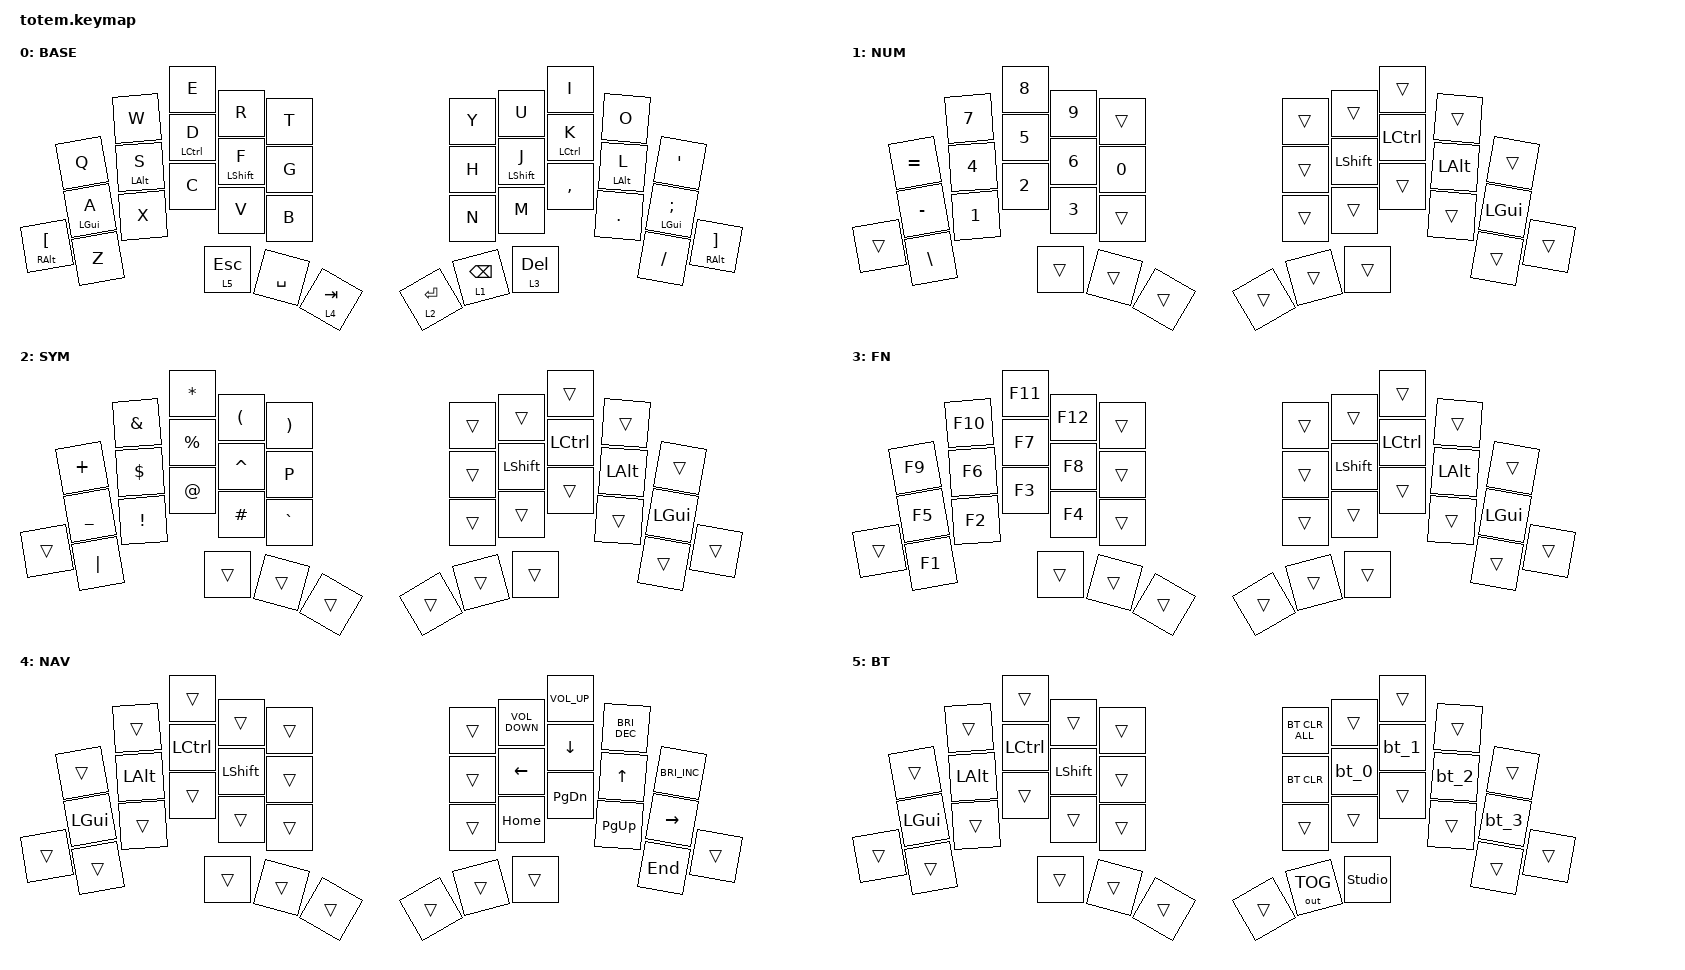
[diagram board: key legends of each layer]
#include <behaviors.dtsi>
#include <dt-bindings/zmk/bt.h>
#include <dt-bindings/zmk/keys.h>
#include <dt-bindings/zmk/modifiers.h>
#include <dt-bindings/zmk/outputs.h>

// Tap: select BT profile | Shift + tap: disconnect it.
#define BT_MORPH(n)                                  \
    bt_##n: bt_##n {                                 \
        compatible = "zmk,behavior-mod-morph";       \
        #binding-cells = <0>;                        \
        bindings = <&bt BT_SEL n>, <&bt BT_DISC n>;  \
        mods = <(MOD_LSFT | MOD_RSFT)>;              \
    };

&lt {
    tapping-term-ms = <235>;
    quick-tap-ms = <175>;
    require-prior-idle-ms = <150>;
    flavor = "balanced";
    hold-trigger-on-release;
};

/ {
    combos {
        compatible = "zmk,combos";

        caps_word {
            bindings = <&caps_word>;
            key-positions = <13 16>;
        };

        caps {
            bindings = <&kp CAPSLOCK>;
            key-positions = <4 14>;
            layers = <0>;
        };

        shift_caps {
            bindings = <&kp LS(CAPSLOCK)>;
            key-positions = <5 15>;
            layers = <0>;
        };
    };

    behaviors {
        rhm: rhm {
            compatible = "zmk,behavior-hold-tap";
            label = "RHM";
            bindings = <&kp>, <&kp>;

            #binding-cells = <2>;
            tapping-term-ms = <235>;
            quick-tap-ms = <175>;
            require-prior-idle-ms = <150>;
            flavor = "balanced";
            hold-trigger-key-positions = <4 14 25 34 33 32 24 13 3 2 12 23 22 11 1 0 10 21 20>;
            hold-trigger-on-release;
        };

        lhm: lhm {
            compatible = "zmk,behavior-hold-tap";
            label = "LHM";
            bindings = <&kp>, <&kp>;

            #binding-cells = <2>;
            tapping-term-ms = <235>;
            quick-tap-ms = <175>;
            require-prior-idle-ms = <150>;
            flavor = "balanced";
            hold-trigger-key-positions = <5 6 7 8 9 31 19 18 17 16 15 26 27 28 29 30 37 36 35>;
            hold-trigger-on-release;
        };

        BT_MORPH(0)
        BT_MORPH(1)
        BT_MORPH(2)
        BT_MORPH(3)
    };

    keymap {
        compatible = "zmk,keymap";

        base_layer {
            display-name = "BASE";
            bindings = <
                        &kp Q        &kp W        &kp E         &kp R         &kp T        &kp Y        &kp U            &kp I         &kp O        &kp SINGLE_QUOTE
                        &lhm LGUI A  &lhm LALT S  &lhm LCTRL D  &lhm LSHFT F  &kp G        &kp H        &rhm LSHIFT J    &rhm LCTRL K  &rhm LALT L  &rhm LGUI SEMI
&lhm RALT LEFT_BRACKET  &kp Z        &kp X        &kp C         &kp V         &kp B        &kp N        &kp M            &kp COMMA     &kp DOT      &kp FSLH          &rhm RALT RIGHT_BRACKET
                                                  &lt 5 ESCAPE  &kp SPACE     &lt 4 TAB    &lt 2 ENTER  &lt 1 BACKSPACE  &lt 3 DELETE
            >;
        };

        num_layer {
            display-name = "NUM";
            bindings = <
        &kp EQUAL      &kp N7  &kp N8  &kp N9  &trans    &trans  &trans      &trans     &trans    &trans
        &kp MINUS      &kp N4  &kp N5  &kp N6  &kp N0    &trans  &kp LSHIFT  &kp LCTRL  &kp LALT  &kp LGUI
&trans  &kp BACKSLASH  &kp N1  &kp N2  &kp N3  &trans    &trans  &trans      &trans     &trans    &trans    &trans
                               &trans  &trans  &trans    &trans  &trans      &trans
            >;
        };

        sym_layer {
            display-name = "SYM";
            bindings = <
        &kp PLUS        &kp AMPERSAND    &kp ASTERISK  &kp LEFT_PARENTHESIS  &kp RIGHT_PARENTHESIS    &trans  &trans      &trans     &trans    &trans
        &kp UNDERSCORE  &kp DOLLAR       &kp PERCENT   &kp CARET             &kp P                    &trans  &kp LSHIFT  &kp LCTRL  &kp LALT  &kp LGUI
&trans  &kp PIPE        &kp EXCLAMATION  &kp AT        &kp HASH              &kp GRAVE                &trans  &trans      &trans     &trans    &trans    &trans
                                         &trans        &trans                &trans                   &trans  &trans      &trans
            >;
        };

        fn_layer {
            display-name = "FN";
            bindings = <
        &kp F9  &kp F10  &kp F11  &kp F12  &trans    &trans  &trans      &trans     &trans    &trans
        &kp F5  &kp F6   &kp F7   &kp F8   &trans    &trans  &kp LSHIFT  &kp LCTRL  &kp LALT  &kp LGUI
&trans  &kp F1  &kp F2   &kp F3   &kp F4   &trans    &trans  &trans      &trans     &trans    &trans    &trans
                         &trans   &trans   &trans    &trans  &trans      &trans
            >;
        };

        nav_layer {
            display-name = "NAV";
            bindings = <
        &trans    &trans    &trans     &trans     &trans    &trans  &kp C_VOLUME_DOWN  &kp C_VOLUME_UP  &kp C_BRIGHTNESS_DEC  &kp C_BRIGHTNESS_INC
        &kp LGUI  &kp LALT  &kp LCTRL  &kp LSHFT  &trans    &trans  &kp LEFT_ARROW     &kp DOWN_ARROW   &kp UP_ARROW          &kp RIGHT_ARROW
&trans  &trans    &trans    &trans     &trans     &trans    &trans  &kp HOME           &kp PAGE_DOWN    &kp PAGE_UP           &kp END               &trans
                            &trans     &trans     &trans    &trans  &trans             &trans
            >;
        };

        bt_layer {
            display-name = "BT";
            bindings = <
        &trans    &trans    &trans     &trans     &trans    &bt BT_CLR_ALL  &trans        &trans          &trans  &trans
        &kp LGUI  &kp LALT  &kp LCTRL  &kp LSHFT  &trans    &bt BT_CLR      &bt_0         &bt_1           &bt_2   &bt_3
&trans  &trans    &trans    &trans     &trans     &trans    &trans          &trans        &trans          &trans  &trans  &trans
                            &trans     &trans     &trans    &trans          &out OUT_TOG  &studio_unlock
            >;
        };
    };
};
